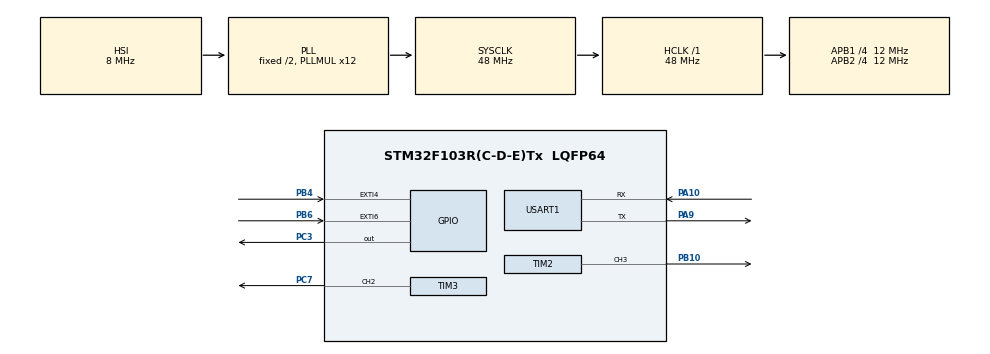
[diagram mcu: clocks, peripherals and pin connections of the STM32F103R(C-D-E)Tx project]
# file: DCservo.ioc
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Mcu.Family=STM32F1
Mcu.Name=STM32F103R(C-D-E)Tx
Mcu.Package=LQFP64
NVIC.EXTI4_IRQn=true\:0\:0\:false\:false\:true\:true\:true
NVIC.EXTI9_5_IRQn=true\:0\:0\:false\:false\:true\:true\:true
NVIC.PriorityGroup=NVIC_PRIORITYGROUP_4
NVIC.TIM4_IRQn=true\:0\:0\:false\:false\:true\:true\:true
NVIC.TIM5_IRQn=true\:0\:0\:false\:false\:true\:true\:true
NVIC.USART1_IRQn=true\:0\:0\:false\:false\:true\:true\:true
PA10.Mode=Asynchronous
PA10.Signal=USART1_RX
PA13.Mode=Serial_Wire
PA13.Signal=SYS_JTMS-SWDIO
PA14.Mode=Serial_Wire
PA14.Signal=SYS_JTCK-SWCLK
PA9.Mode=Asynchronous
PA9.Signal=USART1_TX
PB10.Signal=S_TIM2_CH3
PB4.GPIO_ModeDefaultEXTI=GPIO_MODE_IT_RISING_FALLING
PB4.GPIO_PuPd=GPIO_PULLUP
PB4.Signal=GPXTI4
PB6.GPIO_ModeDefaultEXTI=GPIO_MODE_IT_RISING_FALLING
PB6.GPIO_PuPd=GPIO_PULLUP
PB6.Signal=GPXTI6
PC3.GPIO_PuPd=GPIO_NOPULL
PC3.Signal=GPIO_Output
PC7.Signal=S_TIM3_CH2
ProjectManager.HeapSize=0x200
ProjectManager.StackSize=0x400
ProjectManager.TargetToolchain=MDK-ARM V5
RCC.AHBFreq_Value=48000000
RCC.APB1CLKDivider=RCC_HCLK_DIV4
RCC.APB1Freq_Value=12000000
RCC.APB1TimFreq_Value=24000000
RCC.APB2CLKDivider=RCC_HCLK_DIV4
RCC.APB2Freq_Value=12000000
RCC.APB2TimFreq_Value=24000000
RCC.HCLKFreq_Value=48000000
RCC.PLLMUL=RCC_PLL_MUL12
RCC.SYSCLKFreq_VALUE=48000000
RCC.SYSCLKSource=RCC_SYSCLKSOURCE_PLLCLK
RCC.USBFreq_Value=48000000
SH.S_TIM2_CH3.0=TIM2_CH3,PWM Generation3 CH3
SH.S_TIM3_CH2.0=TIM3_CH2,PWM Generation2 CH2
TIM2.Channel-PWM\ Generation3\ CH3=TIM_CHANNEL_3
TIM2.Period=100
TIM2.Prescaler=11
TIM3.Channel-PWM\ Generation2\ CH2=TIM_CHANNEL_2
TIM3.Period=100
TIM3.Prescaler=11
TIM4.Period=4
TIM4.Prescaler=23999
TIM5.Period=9
TIM5.Prescaler=23999
USART1.VirtualMode=VM_ASYNC
VP_TIM4_VS_ClockSourceINT.Mode=Internal
VP_TIM5_VS_ClockSourceINT.Mode=Internal
board=custom

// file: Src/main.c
/* USER CODE BEGIN Header */
/**
  ******************************************************************************
  * @file           : main.c
  * @brief          : Main program body
  ******************************************************************************
  ** This notice applies to any and all portions of this file
  * that are not between comment pairs USER CODE BEGIN and
  * USER CODE END. Other portions of this file, whether
  * inserted by the user or by software development tools
  * are owned by their respective copyright owners.
  *
  * COPYRIGHT(c) 2019 STMicroelectronics
  *
  * Redistribution and use in source and binary forms, with or without modification,
  * are permitted provided that the following conditions are met:
  *   1. Redistributions of source code must retain the above copyright notice,
  *      this list of conditions and the following disclaimer.
  *   2. Redistributions in binary form must reproduce the above copyright notice,
  *      this list of conditions and the following disclaimer in the documentation
  *      and/or other materials provided with the distribution.
  *   3. Neither the name of STMicroelectronics nor the names of its contributors
  *      may be used to endorse or promote products derived from this software
  *      without specific prior written permission.
  *
  * THIS SOFTWARE IS PROVIDED BY THE COPYRIGHT HOLDERS AND CONTRIBUTORS "AS IS"
  * AND ANY EXPRESS OR IMPLIED WARRANTIES, INCLUDING, BUT NOT LIMITED TO, THE
  * IMPLIED WARRANTIES OF MERCHANTABILITY AND FITNESS FOR A PARTICULAR PURPOSE ARE
  * DISCLAIMED. IN NO EVENT SHALL THE COPYRIGHT HOLDER OR CONTRIBUTORS BE LIABLE
  * FOR ANY DIRECT, INDIRECT, INCIDENTAL, SPECIAL, EXEMPLARY, OR CONSEQUENTIAL
  * DAMAGES (INCLUDING, BUT NOT LIMITED TO, PROCUREMENT OF SUBSTITUTE GOODS OR
  * SERVICES; LOSS OF USE, DATA, OR PROFITS; OR BUSINESS INTERRUPTION) HOWEVER
  * CAUSED AND ON ANY THEORY OF LIABILITY, WHETHER IN CONTRACT, STRICT LIABILITY,
  * OR TORT (INCLUDING NEGLIGENCE OR OTHERWISE) ARISING IN ANY WAY OUT OF THE USE
  * OF THIS SOFTWARE, EVEN IF ADVISED OF THE POSSIBILITY OF SUCH DAMAGE.
  *
  ******************************************************************************
  */
/* USER CODE END Header */

#include "main.h"

/* USER CODE BEGIN Includes */
#include "string.h"
#include "stdio.h"
#include "stdlib.h"
#include "stdbool.h"
/* USER CODE END Includes */

/* USER CODE BEGIN PD */
#define pi 3.1415
#define p2r pi/1000
/* USER CODE END PD */

TIM_HandleTypeDef htim2;
TIM_HandleTypeDef htim3;
TIM_HandleTypeDef htim4;
TIM_HandleTypeDef htim5;

UART_HandleTypeDef huart1;

/* USER CODE BEGIN PV */
int32_t PosCnt,Cnttmp,speed;
int16_t CountValue=0,RealVel,DesiredSpeed,HILIM,LOLIM;
uint16_t AngPos1, AngPos0,CntVel;
uint8_t PreviousState,Speedmode,tick=0;
bool run=false;
float CurPos=0,DesiredPos,CurVel,DesiredLength;
char Rx_indx, Rx_Buffer[20],Rx_data[2];

int dir,pwm;
/* USER CODE END PV */

void SystemClock_Config(void);
static void MX_GPIO_Init(void);
static void MX_TIM2_Init(void);
static void MX_TIM3_Init(void);
static void MX_USART1_UART_Init(void);
static void MX_TIM4_Init(void);
static void MX_TIM5_Init(void);
/* USER CODE BEGIN PFP */
void HAL_TIM_MspPostInit(TIM_HandleTypeDef *htim);
int PID(float desiredVal, float currentVal, float kp,float kd);
/* USER CODE END PFP */

/* USER CODE BEGIN 0 */
#ifdef __GNUC__
	#define PUTCHAR_PROTOTYPE int __io_putchar(int ch)
#else
	#define PUTCHAR_PROTOTYPE int fputc(int ch, FILE *f)
	#define GETCHAR_PROTOTYPE int fgetc(FILE *f)
#endif
	PUTCHAR_PROTOTYPE
	{
		HAL_UART_Transmit(&huart1, (uint8_t*)&ch,1,100);
		return ch;
	}

	// Ham ngat Uart
void HAL_UART_RxCpltCallback(UART_HandleTypeDef *huart)
	{
		uint8_t i;
		if(huart->Instance == USART1) //uart1
		{
				if(Rx_indx==0) {for (i=0;i<20;i++) Rx_Buffer[i] = 0;}

		switch(Rx_data[0]) {
            /* dung dong co */
            case 'e':
                run =false;
                break;

            /* dong co chay */
            case 'r':
                run = true;
                break;
            case 'b':
//								reset();
								break;
            case 's':
                DesiredPos = atoi(Rx_Buffer);
								DesiredLength = DesiredPos*2*pi/10;
                memset(Rx_Buffer, 0, sizeof(Rx_Buffer));
                Rx_indx = 0;
                break;
            case 'v':
                DesiredSpeed = atoi(Rx_Buffer);
                memset(Rx_Buffer, 0, sizeof(Rx_Buffer));
                Rx_indx = 0;
                break;
            case '0':
            case '1':
            case '2':
            case '3':
            case '4':
            case '5':
            case '6':
            case '7':
            case '8':
            case '9':
            case '.':
            case '-':
                Rx_Buffer[Rx_indx++] |= Rx_data[0];
                break;
            default:
                break;
        }
				HAL_UART_Receive_IT(&huart1,(uint8_t*)Rx_data,1);
		}
	}

void EXTI9_5_IRQHandler(void)	// doc encoder
{
  /* USER CODE BEGIN EXTI9_5_IRQn 0 */
unsigned char State0;
	State0 = (State0<<1) | HAL_GPIO_ReadPin(GPIOB, GPIO_PIN_4);
	State0 = (State0<<1) | HAL_GPIO_ReadPin(GPIOB, GPIO_PIN_6);
	State0 = State0&0x03;
	switch (State0) {
		case 0:
			if(PreviousState==1) CountValue++;
			else CountValue--;
		break;
		case 1:
			if(PreviousState==3) CountValue++;
			else CountValue--;
		break;
		case 2:
			if(PreviousState==0) CountValue++;
			else CountValue--;
		break;
		case 3:
			if(PreviousState==2) CountValue++;
			else CountValue--;
		break;
		}
	PreviousState = State0;
	CntVel++;
	if (CountValue>=2000) {
		CountValue = 0;
		PosCnt++;
	}
	else if	(CountValue<=-2000) {
		CountValue = 0;
		PosCnt--;
	}
  /* USER CODE END EXTI4_IRQn 0 */
  HAL_GPIO_EXTI_IRQHandler(GPIO_PIN_6);
  /* USER CODE BEGIN EXTI4_IRQn 1 */
}

/**
* @brief This function handles EXTI line3 interrupt.
*/
void EXTI4_IRQHandler(void)	// doc encoder
{
  /* USER CODE BEGIN EXTI4_IRQn 0 */
	// CHANNEL A
unsigned char State1;
	State1 = (State1<<1) | HAL_GPIO_ReadPin(GPIOB, GPIO_PIN_4);
	State1 = (State1<<1) | HAL_GPIO_ReadPin(GPIOB, GPIO_PIN_6);
	State1 = State1&0x03;
	switch (State1) {
		case 0:
			if(PreviousState==1) CountValue++;
			else CountValue--;
		break;
		case 1:
			if(PreviousState==3) CountValue++;
			else CountValue--;
		break;
		case 2:
			if(PreviousState==0) CountValue++;
			else CountValue--;
		break;
		case 3:
			if(PreviousState==2) CountValue++;
			else CountValue--;
		break;
		}
	PreviousState = State1;
	CntVel++;
	if (CountValue>=2000) {
		CountValue = 0;
		PosCnt++;
	}
	else if	(CountValue<=-2000) {
		CountValue = 0;
		PosCnt--;
	}
  /* USER CODE END EXTI3_IRQn 0 */
  HAL_GPIO_EXTI_IRQHandler(GPIO_PIN_4);
  /* USER CODE BEGIN EXTI3_IRQn 1 */

  /* USER CODE END EXTI3_IRQn 1 */
}

void HAL_TIM_PeriodElapsedCallback(TIM_HandleTypeDef *htim) {	// ngat timer 4 tinh van toc
	if(htim->Instance==TIM4)	// ngat do timer 4	5ms
	{
		CurPos = PosCnt*2*pi+CountValue*p2r;	// Position calculation

		Cnttmp = CntVel;
		CntVel = 0;
		RealVel = Cnttmp*6;										//RPM
		CurVel = Cnttmp*pi/5;								//rad/s

		// dir = 1, CurPos<0
		if (run==1){//chieu thuan
			pwm = PID(DesiredLength,CurPos, 44.21,1.95);

			if(dir==1){
				HAL_GPIO_WritePin(GPIOC,GPIO_PIN_3, GPIO_PIN_RESET);
			__HAL_TIM_SetCompare(&htim3,TIM_CHANNEL_2,pwm); 	// set pwm
			}
			else if(dir==2){//chieu thuan
			HAL_GPIO_WritePin(GPIOC,GPIO_PIN_3, GPIO_PIN_SET);
			__HAL_TIM_SetCompare(&htim3,TIM_CHANNEL_2,pwm); 	// set pwm

			}
		return;
	}
  }
	if(htim->Instance==TIM5)
	{
//		ut=5*pi*time;	// ham chay theo thoi gian u(t)=5*pi(t);	// timer 5
//		time+=0.01;
			tick++;
			if ((run==1)&&(tick==5)){
				tick=0;
				printf("V%d\r \n",RealVel);
				printf("P%f\r \n",(CurPos*10/(2*pi)));
			}
	}

}
int PID(float desiredVal, float currentVal, float kp,float kd)
{
	static float err_p =0 ;
	static float dterm_f_p =0;

	float sampletime = 0.005;
	float alpha = 0.1;
	float err;
	float pterm,dterm,dterm_f;
	float pdterm;
	int16_t pwmout;

	HILIM = 15;
	LOLIM = 0;

	err = desiredVal - currentVal;

	//chon chieu quay

	if(err>0)
	{

		dir = 2; //chieu thuan
	}
	else if(err<0)
	{
		err = -err;
		dir = 1; //chieu nghich
	}

	pterm = kp*err;

	//khau D

	dterm = kd*(err-err_p)/sampletime;
	dterm_f = alpha*dterm +(1-alpha)*dterm_f_p;

	//reset value
	err_p = err;
	dterm_f_p = dterm_f;

	pdterm = pterm + dterm_f;   // +=

	if(pdterm >HILIM) pwmout = HILIM;
	else if(pdterm <LOLIM) pwmout = LOLIM;
	else pwmout = pdterm;

	pwmout = (int)pwmout;

	return pwmout;

}

/* USER CODE END 0 */

int main(void)
{

  /* MCU Configuration--------------------------------------------------------*/

  /* Reset of all peripherals, Initializes the Flash interface and the Systick. */
  HAL_Init();

  /* Configure the system clock */
  SystemClock_Config();

  /* Initialize all configured peripherals */
  MX_GPIO_Init();
  MX_TIM2_Init();
  MX_TIM3_Init();
  MX_USART1_UART_Init();
  MX_TIM4_Init();
  MX_TIM5_Init();
  /* USER CODE BEGIN 2 */
	HAL_TIM_PWM_Start(&htim2, TIM_CHANNEL_3);	// khoi tao timer 2
	HAL_TIM_PWM_Start(&htim3, TIM_CHANNEL_2);	// khoi tao timer 3
	HAL_TIM_Base_Start_IT(&htim4);						// khoi tao timer 4
	HAL_TIM_Base_Start_IT(&htim5);						// khoi tao timer 5
	HAL_UART_Receive_IT(&huart1,(uint8_t*)Rx_data,1);
  /* USER CODE END 2 */

  /* Infinite loop */
  while (1)
  {

  }
}

void SystemClock_Config(void)
{
  RCC_OscInitTypeDef RCC_OscInitStruct = {0};
  RCC_ClkInitTypeDef RCC_ClkInitStruct = {0};

  /**Initializes the CPU, AHB and APB busses clocks
  */
  RCC_OscInitStruct.OscillatorType = RCC_OSCILLATORTYPE_HSI;
  RCC_OscInitStruct.HSIState = RCC_HSI_ON;
  RCC_OscInitStruct.HSICalibrationValue = RCC_HSICALIBRATION_DEFAULT;
  RCC_OscInitStruct.PLL.PLLState = RCC_PLL_ON;
  RCC_OscInitStruct.PLL.PLLSource = RCC_PLLSOURCE_HSI_DIV2;
  RCC_OscInitStruct.PLL.PLLMUL = RCC_PLL_MUL12;
  if (HAL_RCC_OscConfig(&RCC_OscInitStruct) != HAL_OK)
  {
    Error_Handler();
  }
  /**Initializes the CPU, AHB and APB busses clocks
  */
  RCC_ClkInitStruct.ClockType = RCC_CLOCKTYPE_HCLK|RCC_CLOCKTYPE_SYSCLK
                              |RCC_CLOCKTYPE_PCLK1|RCC_CLOCKTYPE_PCLK2;
  RCC_ClkInitStruct.SYSCLKSource = RCC_SYSCLKSOURCE_PLLCLK;
  RCC_ClkInitStruct.AHBCLKDivider = RCC_SYSCLK_DIV1;
  RCC_ClkInitStruct.APB1CLKDivider = RCC_HCLK_DIV4;
  RCC_ClkInitStruct.APB2CLKDivider = RCC_HCLK_DIV4;

  if (HAL_RCC_ClockConfig(&RCC_ClkInitStruct, FLASH_LATENCY_1) != HAL_OK)
  {
    Error_Handler();
  }
}

static void MX_TIM2_Init(void)
{

  TIM_MasterConfigTypeDef sMasterConfig = {0};
  TIM_OC_InitTypeDef sConfigOC = {0};

  htim2.Instance = TIM2;
  htim2.Init.Prescaler = 11;
  htim2.Init.CounterMode = TIM_COUNTERMODE_UP;
  htim2.Init.Period = 100;
  htim2.Init.ClockDivision = TIM_CLOCKDIVISION_DIV1;
  htim2.Init.AutoReloadPreload = TIM_AUTORELOAD_PRELOAD_DISABLE;
  if (HAL_TIM_PWM_Init(&htim2) != HAL_OK)
  {
    Error_Handler();
  }
  sMasterConfig.MasterOutputTrigger = TIM_TRGO_RESET;
  sMasterConfig.MasterSlaveMode = TIM_MASTERSLAVEMODE_DISABLE;
  if (HAL_TIMEx_MasterConfigSynchronization(&htim2, &sMasterConfig) != HAL_OK)
  {
    Error_Handler();
  }
  sConfigOC.OCMode = TIM_OCMODE_PWM1;
  sConfigOC.Pulse = 0;
  sConfigOC.OCPolarity = TIM_OCPOLARITY_HIGH;
  sConfigOC.OCFastMode = TIM_OCFAST_DISABLE;
  if (HAL_TIM_PWM_ConfigChannel(&htim2, &sConfigOC, TIM_CHANNEL_3) != HAL_OK)
  {
    Error_Handler();
  }
  HAL_TIM_MspPostInit(&htim2);

}

static void MX_TIM3_Init(void)
{

  TIM_MasterConfigTypeDef sMasterConfig = {0};
  TIM_OC_InitTypeDef sConfigOC = {0};

  htim3.Instance = TIM3;
  htim3.Init.Prescaler = 11;
  htim3.Init.CounterMode = TIM_COUNTERMODE_UP;
  htim3.Init.Period = 100;
  htim3.Init.ClockDivision = TIM_CLOCKDIVISION_DIV1;
  htim3.Init.AutoReloadPreload = TIM_AUTORELOAD_PRELOAD_DISABLE;
  if (HAL_TIM_PWM_Init(&htim3) != HAL_OK)
  {
    Error_Handler();
  }
  sMasterConfig.MasterOutputTrigger = TIM_TRGO_RESET;
  sMasterConfig.MasterSlaveMode = TIM_MASTERSLAVEMODE_DISABLE;
  if (HAL_TIMEx_MasterConfigSynchronization(&htim3, &sMasterConfig) != HAL_OK)
  {
    Error_Handler();
  }
  sConfigOC.OCMode = TIM_OCMODE_PWM1;
  sConfigOC.Pulse = 0;
  sConfigOC.OCPolarity = TIM_OCPOLARITY_HIGH;
  sConfigOC.OCFastMode = TIM_OCFAST_DISABLE;
  if (HAL_TIM_PWM_ConfigChannel(&htim3, &sConfigOC, TIM_CHANNEL_2) != HAL_OK)
  {
    Error_Handler();
  }
  HAL_TIM_MspPostInit(&htim3);

}

static void MX_TIM4_Init(void)
{

  TIM_ClockConfigTypeDef sClockSourceConfig = {0};
  TIM_MasterConfigTypeDef sMasterConfig = {0};

  htim4.Instance = TIM4;
  htim4.Init.Prescaler = 23999;
  htim4.Init.CounterMode = TIM_COUNTERMODE_UP;
  htim4.Init.Period = 4;
  htim4.Init.ClockDivision = TIM_CLOCKDIVISION_DIV1;
  htim4.Init.AutoReloadPreload = TIM_AUTORELOAD_PRELOAD_DISABLE;
  if (HAL_TIM_Base_Init(&htim4) != HAL_OK)
  {
    Error_Handler();
  }
  sClockSourceConfig.ClockSource = TIM_CLOCKSOURCE_INTERNAL;
  if (HAL_TIM_ConfigClockSource(&htim4, &sClockSourceConfig) != HAL_OK)
  {
    Error_Handler();
  }
  sMasterConfig.MasterOutputTrigger = TIM_TRGO_RESET;
  sMasterConfig.MasterSlaveMode = TIM_MASTERSLAVEMODE_DISABLE;
  if (HAL_TIMEx_MasterConfigSynchronization(&htim4, &sMasterConfig) != HAL_OK)
  {
    Error_Handler();
  }

}

static void MX_TIM5_Init(void)
{

  TIM_ClockConfigTypeDef sClockSourceConfig = {0};
  TIM_MasterConfigTypeDef sMasterConfig = {0};

  htim5.Instance = TIM5;
  htim5.Init.Prescaler = 23999;
  htim5.Init.CounterMode = TIM_COUNTERMODE_UP;
  htim5.Init.Period = 9;
  htim5.Init.ClockDivision = TIM_CLOCKDIVISION_DIV1;
  htim5.Init.AutoReloadPreload = TIM_AUTORELOAD_PRELOAD_DISABLE;
  if (HAL_TIM_Base_Init(&htim5) != HAL_OK)
  {
    Error_Handler();
  }
  sClockSourceConfig.ClockSource = TIM_CLOCKSOURCE_INTERNAL;
  if (HAL_TIM_ConfigClockSource(&htim5, &sClockSourceConfig) != HAL_OK)
  {
    Error_Handler();
  }
  sMasterConfig.MasterOutputTrigger = TIM_TRGO_RESET;
  sMasterConfig.MasterSlaveMode = TIM_MASTERSLAVEMODE_DISABLE;
  if (HAL_TIMEx_MasterConfigSynchronization(&htim5, &sMasterConfig) != HAL_OK)
  {
    Error_Handler();
  }

}

static void MX_USART1_UART_Init(void)
{

  huart1.Instance = USART1;
  huart1.Init.BaudRate = 115200;
  huart1.Init.WordLength = UART_WORDLENGTH_8B;
  huart1.Init.StopBits = UART_STOPBITS_1;
  huart1.Init.Parity = UART_PARITY_NONE;
  huart1.Init.Mode = UART_MODE_TX_RX;
  huart1.Init.HwFlowCtl = UART_HWCONTROL_NONE;
  huart1.Init.OverSampling = UART_OVERSAMPLING_16;
  if (HAL_UART_Init(&huart1) != HAL_OK)
  {
    Error_Handler();
  }

}

static void MX_GPIO_Init(void)
{
  GPIO_InitTypeDef GPIO_InitStruct = {0};

  /* GPIO Ports Clock Enable */
  __HAL_RCC_GPIOC_CLK_ENABLE();
  __HAL_RCC_GPIOB_CLK_ENABLE();
  __HAL_RCC_GPIOA_CLK_ENABLE();

  /*Configure GPIO pin Output Level */
  HAL_GPIO_WritePin(GPIOC, GPIO_PIN_3, GPIO_PIN_RESET);

  /*Configure GPIO pin : PC3 */
  GPIO_InitStruct.Pin = GPIO_PIN_3;
  GPIO_InitStruct.Mode = GPIO_MODE_OUTPUT_PP;
  GPIO_InitStruct.Pull = GPIO_NOPULL;
  GPIO_InitStruct.Speed = GPIO_SPEED_FREQ_LOW;
  HAL_GPIO_Init(GPIOC, &GPIO_InitStruct);

  /*Configure GPIO pins : PB4 PB6 */
  GPIO_InitStruct.Pin = GPIO_PIN_4|GPIO_PIN_6;
  GPIO_InitStruct.Mode = GPIO_MODE_IT_RISING_FALLING;
  GPIO_InitStruct.Pull = GPIO_PULLUP;
  HAL_GPIO_Init(GPIOB, &GPIO_InitStruct);

  /* EXTI interrupt init*/
  HAL_NVIC_SetPriority(EXTI4_IRQn, 0, 0);
  HAL_NVIC_EnableIRQ(EXTI4_IRQn);

  HAL_NVIC_SetPriority(EXTI9_5_IRQn, 0, 0);
  HAL_NVIC_EnableIRQ(EXTI9_5_IRQn);

}

void Error_Handler(void)
{
}

/************************ (C) COPYRIGHT STMicroelectronics *****END OF FILE****/
